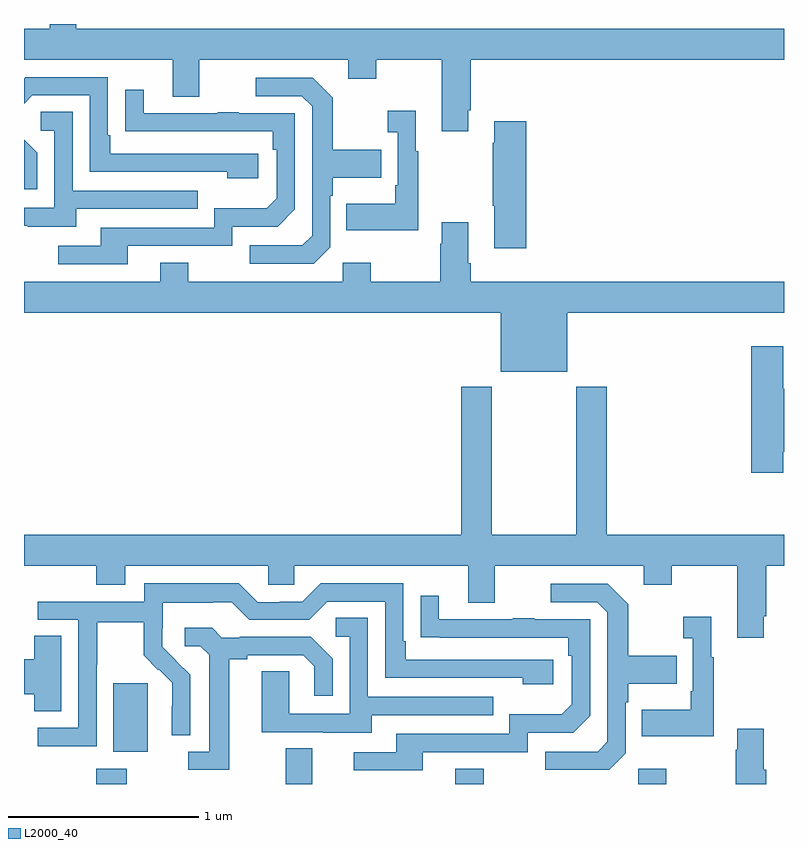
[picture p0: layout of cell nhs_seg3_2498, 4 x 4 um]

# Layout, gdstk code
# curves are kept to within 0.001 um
import gdstk
lib = gdstk.Library(unit=1e-6, precision=1e-09)
def R(c, l, rs):  # rectangles x0, y0, x1, y1
    for r in rs: c.add(gdstk.rectangle(r[:2], r[2:], *l))
def P(c, l, *ps):  # polygons
    for p in ps: c.add(gdstk.Polygon(p, *l))
L2000_40 = (2000, 40)

nhs_seg3_2498 = lib.new_cell('nhs_seg3_2498')
R(nhs_seg3_2498, L2000_40, [(239.381,734.4,239.541,734.479), (240.377,734.4,240.517,734.588), (241.271,734.4,241.419,734.479), (242.232,734.4,242.379,734.479), (239.471,734.57,239.65,734.931)])
P(nhs_seg3_2498, L2000_40, [(241.339,737.947),(241.352,737.947),(241.352,738.212),(243,738.212),(243,738.376),(239.275,738.376),(239.275,738.4),(239.135,738.4),(239.135,738.376),(239,738.376),(239,738.212),(239.783,738.212),(239.783,738.018),(239.923,738.018),(239.923,738.212),(240.707,738.212),(240.707,738.113),(240.855,738.113),(240.855,738.212),(241.199,738.212),(241.199,737.835),(241.339,737.835)],
  [(240.232,737.718),(239.455,737.718),(239.455,737.815),(239.442,737.815),(239.442,738.12),(239.007,738.12),(239,738.113),(239,737.981),(239.043,738.024),(239.346,738.024),(239.346,737.622),(240.071,737.622),(240.071,737.588),(240.232,737.588)],
  [(240.612,737.226),(240.612,737.495),(240.625,737.495),(240.625,737.591),(240.881,737.591),(240.881,737.739),(240.625,737.739),(240.625,738.011),(240.519,738.117),(240.219,738.117),(240.219,738.021),(240.462,738.021),(240.516,737.967),(240.516,737.286),(240.465,737.235),(240.189,737.235),(240.189,737.139),(240.525,737.139)],
  [(239.545,737.232),(240.096,737.232),(240.096,737.334),(240.336,737.334),(240.426,737.424),(240.426,737.931),(240.131,737.931),(240.131,737.936),(240.019,737.936),(240.019,737.931),(239.629,737.931),(239.629,738.055),(239.533,738.055),(239.533,737.836),(240.31,737.835),(240.31,737.738),(240.33,737.738),(240.33,737.484),(240.277,737.431),(240,737.431),(240,737.328),(239.405,737.328),(239.405,737.232),(239.181,737.232),(239.181,737.136),(239.545,737.136)],
  [(241.075,737.731),(241.063,737.731),(241.063,737.944),(240.915,737.944),(240.915,737.831),(240.966,737.831),(240.966,737.551),(240.954,737.551),(240.954,737.455),(240.697,737.455),(240.697,737.315),(241.075,737.315)],
  [(239.275,737.427),(239.915,737.427),(239.915,737.523),(239.256,737.523),(239.256,737.939),(239.088,737.939),(239.088,737.838),(239.16,737.838),(239.16,737.433),(239,737.433),(239,737.337),(239.021,737.337),(239.021,737.333),(239.275,737.333)],
  [(241.643,737.887),(241.475,737.887),(241.475,737.774),(241.468,737.774),(241.468,737.443),(241.475,737.443),(241.475,737.22),(241.643,737.22)],
  [(239.07,737.722),(239,737.792),(239,737.529),(239.07,737.529)],
  [(241.858,736.88),(243,736.88),(243,737.044),(241.352,737.044),(241.352,737.14),(241.339,737.14),(241.339,737.356),(241.199,737.356),(241.199,737.243),(241.192,737.243),(241.192,737.044),(240.825,737.044),(240.825,737.143),(240.678,737.143),(240.678,737.044),(239.865,737.044),(239.865,737.143),(239.717,737.143),(239.717,737.044),(239,737.044),(239,736.88),(241.508,736.88),(241.508,736.571),(241.858,736.571)],
  [(242.995,736.15),(243,736.15),(243,736.481),(242.995,736.481),(242.995,736.705),(242.828,736.705),(242.828,736.038),(242.995,736.038)],
  [(241.301,736.492),(241.301,735.712),(239,735.712),(239,735.548),(239.381,735.548),(239.381,735.449),(239.533,735.449),(239.533,735.548),(240.285,735.548),(240.285,735.45),(240.423,735.45),(240.423,735.548),(241.337,735.548),(241.337,735.354),(241.477,735.354),(241.477,735.548),(242.261,735.548),(242.261,735.449),(242.409,735.449),(242.409,735.548),(242.753,735.548),(242.753,735.171),(242.893,735.171),(242.893,735.283),(242.906,735.283),(242.906,735.548),(243,735.548),(243,735.712),(242.066,735.712),(242.066,736.492),(241.906,736.492),(241.906,735.712),(241.461,735.712),(241.461,736.492)],
  [(239.382,735.028),(239.385,735.028),(239.385,735.252),(239.629,735.252),(239.629,735.077),(239.706,735),(239.709,735.003),(239.78,734.933),(239.78,734.81),(239.778,734.81),(239.778,734.656),(239.874,734.656),(239.874,734.974),(239.728,735.122),(239.728,735.219),(239.73,735.219),(239.73,735.353),(239.993,735.353),(239.993,735.357),(240.093,735.357),(240.186,735.264),(240.501,735.264),(240.597,735.36),(240.9,735.36),(240.9,734.958),(241.625,734.958),(241.625,734.924),(241.786,734.924),(241.786,735.054),(241.009,735.054),(241.009,735.151),(240.996,735.151),(240.996,735.456),(240.561,735.456),(240.465,735.36),(240.347,735.36),(240.347,735.357),(240.231,735.357),(240.131,735.457),(239.634,735.457),(239.634,735.36),(239.073,735.36),(239.073,735.264),(239.286,735.264),(239.286,734.697),(239.073,734.697),(239.073,734.599),(239.382,734.599)],
  [(242.166,734.562),(242.166,734.831),(242.179,734.831),(242.179,734.927),(242.435,734.927),(242.435,735.075),(242.179,735.075),(242.179,735.347),(242.073,735.453),(241.773,735.453),(241.773,735.357),(242.016,735.357),(242.07,735.303),(242.07,734.622),(242.019,734.571),(241.743,734.571),(241.743,734.475),(242.079,734.475)],
  [(241.099,734.568),(241.65,734.568),(241.65,734.67),(241.89,734.67),(241.98,734.76),(241.98,735.267),(241.685,735.267),(241.685,735.272),(241.573,735.272),(241.573,735.267),(241.183,735.267),(241.183,735.391),(241.087,735.391),(241.087,735.172),(241.864,735.171),(241.864,735.074),(241.884,735.074),(241.884,734.82),(241.831,734.767),(241.554,734.767),(241.554,734.664),(240.959,734.664),(240.959,734.568),(240.735,734.568),(240.735,734.472),(241.099,734.472)],
  [(242.629,735.067),(242.617,735.067),(242.617,735.28),(242.469,735.28),(242.469,735.167),(242.52,735.167),(242.52,734.887),(242.508,734.887),(242.508,734.791),(242.251,734.791),(242.251,734.651),(242.629,734.651)],
  [(240.829,734.763),(241.469,734.763),(241.469,734.859),(240.81,734.859),(240.81,735.275),(240.642,735.275),(240.642,735.174),(240.714,735.174),(240.714,734.769),(240.396,734.769),(240.396,734.993),(240.251,734.993),(240.251,734.673),(240.575,734.673),(240.575,734.669),(240.829,734.669)],
  [(240.079,735.056),(240.175,735.056),(240.175,735.078),(240.47,735.078),(240.527,735.021),(240.527,734.865),(240.624,734.865),(240.624,735.058),(240.508,735.174),(240.136,735.174),(240.136,735.171),(240.042,735.171),(239.99,735.223),(239.847,735.223),(239.847,735.126),(239.928,735.126),(239.975,735.079),(239.975,734.571),(239.865,734.571),(239.865,734.475),(240.079,734.475)],
  [(239.197,735.179),(239.054,735.179),(239.054,735.056),(239,735.056),(239,734.873),(239.054,734.873),(239.054,734.782),(239.197,734.782)],
  [(242.906,734.476),(242.893,734.476),(242.893,734.692),(242.753,734.692),(242.753,734.579),(242.746,734.579),(242.746,734.4),(242.906,734.4)])

lib.write_gds('nhs_seg3_2498.gds')
